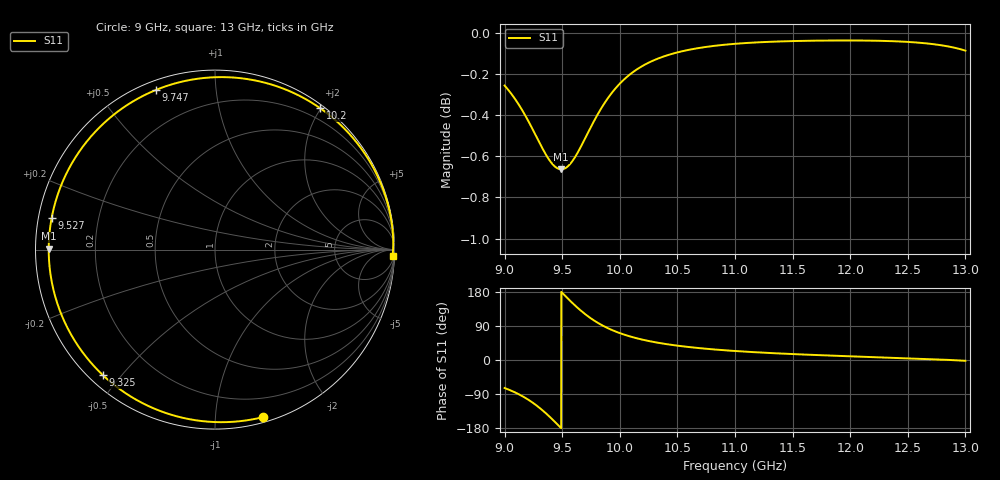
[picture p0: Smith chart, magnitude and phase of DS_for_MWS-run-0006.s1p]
! TOUCHSTONE file generated by CST DESIGN STUDIO
! Date and time: Tue Feb  4 15:41:42 2025
! Project name: C:\Work\MatlabApps\UnitCellOptimizationMatlab\CST\unitcell.cst
! Tree item: Tasks\Sweep1\SPara1\S-Parameters
! Header version: 2024
! Port assignment regex: !\s*Touchstone port\s*([0-9]+)\s*=\s*(CST MWS port|CST DES external port|CST DES block port)\s*(.+)\s* \(\"(.*)\"\)(\s*mode\s*([0-9]+))?.*
! Touchstone port assignment:
! Touchstone port 1 = CST DES external port 1 ("")
# GHz S MA R 50
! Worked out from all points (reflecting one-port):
!   4001 points, 9 GHz to 13 GHz, reference 50 ohm
!   lowest |S11| = -0.7 dB at 9.492 GHz (marker M1), VSWR 26.20, Z = 1.91 + j0.121 ohm
!   phase of S11 starts at -74 deg and turns -288 deg over the sweep
!   S11 on the Smith chart (normalised r, x): 9 GHz: 0.04, -1.33; 9.325 GHz: 0.04, -0.45; 9.527 GHz: 0.04, +0.10; 9.747 GHz: 0.04, +0.70; 10.2 GHz: 0.05, +1.99; 13 GHz: 14, -51
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9  0.9709 -74.0
9.086  0.9641 -84.9
9.188  0.9539 -101.5
9.259  0.9456 -115.9
9.325  0.9378 -131.7
9.369  0.9331 -143.5
9.416  0.9292 -157.1
9.455  0.9271 -168.9
9.492  0.9265 179.7
9.5  0.9265 177.2
9.527  0.9271 168.9
9.579  0.93 153.2
9.64  0.9358 136.0
9.692  0.9418 122.7
9.747  0.9484 110.3
9.854  0.9602 90.4
9.926  0.9666 79.9
10  0.972 70.9
10.095  0.9774 61.6
10.201  0.9818 53.4
10.338  0.9859 45.2
10.5  0.9891 37.8
10.722  0.9919 30.4
11  0.9939 23.8
11.5  0.9954 15.6
12  0.9958 9.8
12.5  0.995 4.6
13  0.9901 -2.1
